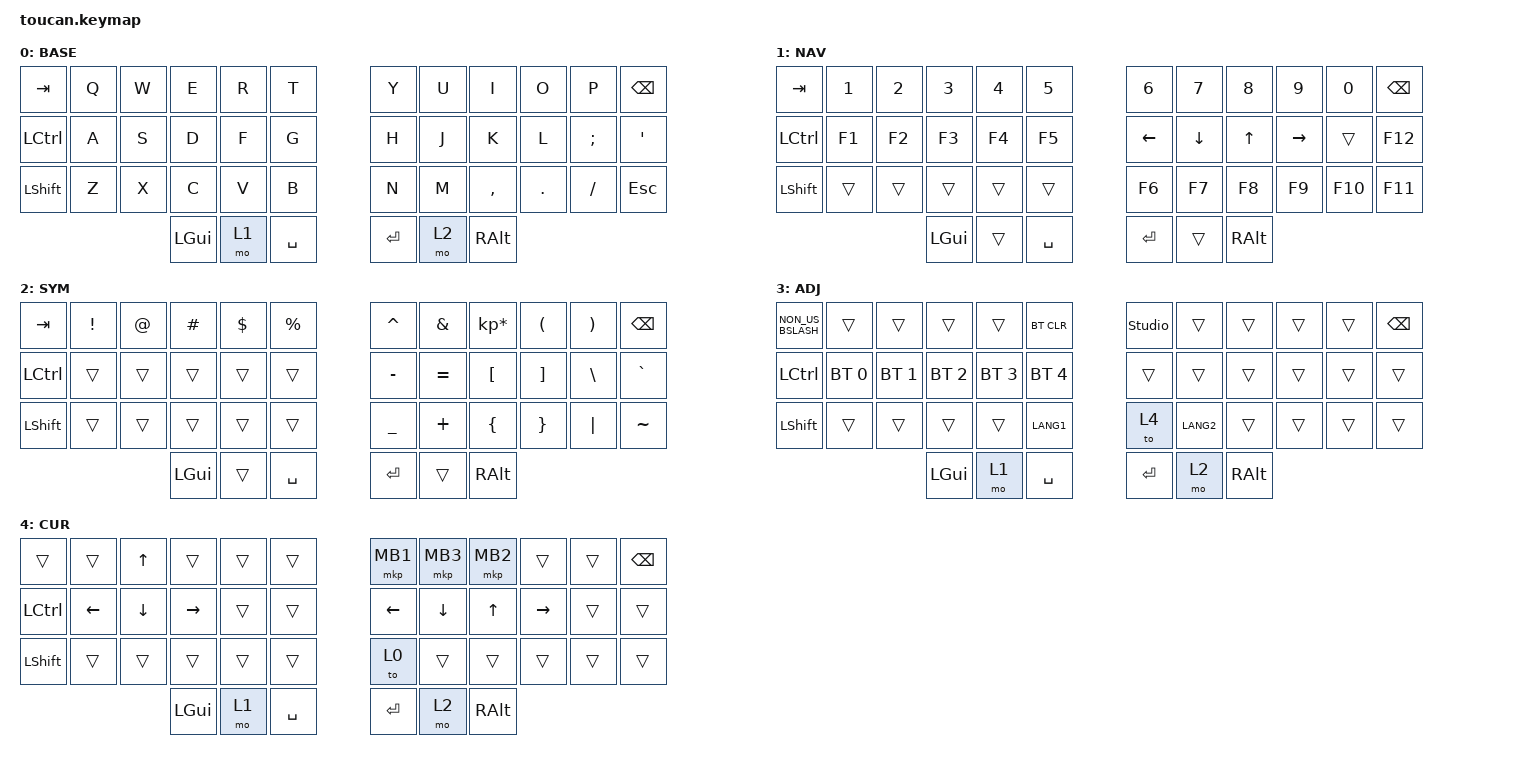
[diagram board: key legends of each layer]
#include <behaviors.dtsi>
#include <dt-bindings/zmk/bt.h>
#include <dt-bindings/zmk/keys.h>
#include <dt-bindings/zmk/pointing.h>
#include <dt-bindings/zmk/outputs.h>
#include <dt-bindings/zmk/mouse.h>
#include <dt-bindings/zmk/studio.h>

#define BASE 0
#define NAV  1
#define SYM  2
#define ADJ  3
#define CUR  4

/ {
    conditional_layers {
        compatible = "zmk,conditional-layers";

        tri_layer {
            if-layers = <1 2>;
            then-layer = <3>;
        };
    };

    keymap {
        compatible = "zmk,keymap";

        base {
            display-name = "BASE";
            bindings = <
                &kp TAB   &kp Q &kp W &kp E &kp R &kp T   &kp Y &kp U  &kp I     &kp O   &kp P    &kp BSPC
                &kp LCTRL &kp A &kp S &kp D &kp F &kp G   &kp H &kp J  &kp K     &kp L   &kp SEMI &kp SQT
                &kp LSHFT &kp Z &kp X &kp C &kp V &kp B   &kp N &kp M  &kp COMMA &kp DOT &kp FSLH &kp ESC
                                &kp LGUI &mo 1 &kp SPACE   &kp RET &mo 2 &kp RALT
            >;
        };

        nav {
            display-name = "NAV";
            bindings = <
                &kp TAB  &kp N1  &kp N2  &kp N3  &kp N4  &kp N5  &kp N6  &kp N7  &kp N8  &kp N9  &kp N0  &kp BSPC
                &kp LCTRL  &kp F1  &kp F2  &kp F3  &kp F4  &kp F5  &kp LEFT_ARROW  &kp DOWN_ARROW  &kp UP_ARROW  &kp RIGHT_ARROW  &trans  &kp F12
                &kp LSHFT  &trans  &trans  &trans  &trans  &trans  &kp F6  &kp F7  &kp F8  &kp F9  &kp F10  &kp F11
                &kp LGUI  &trans  &kp SPACE  &kp RET  &trans  &kp RALT
            >;
        };

        sym {
            display-name = "SYM";
            bindings = <
                &kp TAB  &kp EXCL  &kp AT  &kp HASH  &kp DLLR  &kp PRCNT  &kp CARET  &kp AMPS  &kp KP_MULTIPLY  &kp LPAR  &kp RPAR  &kp BSPC
                &kp LCTRL  &trans  &trans  &trans  &trans  &trans  &kp MINUS  &kp EQUAL  &kp LBKT  &kp RBKT  &kp BSLH  &kp GRAVE
                &kp LSHFT  &trans  &trans  &trans  &trans  &trans  &kp UNDER  &kp PLUS  &kp LBRC  &kp RBRC  &kp PIPE  &kp TILDE
                &kp LGUI  &trans  &kp SPACE  &kp RET  &trans  &kp RALT
            >;
        };

        adj {
            display-name = "ADJ";
            bindings = <
                &kp NON_US_BSLASH  &trans  &trans  &trans  &trans  &bt BT_CLR  &studio_unlock  &trans  &trans  &trans  &trans  &kp BSPC
                &kp LCTRL  &bt BT_SEL 0  &bt BT_SEL 1  &bt BT_SEL 2  &bt BT_SEL 3  &bt BT_SEL 4  &trans  &trans  &trans  &trans  &trans  &trans
                &kp LEFT_SHIFT  &trans  &trans  &trans  &trans  &kp LANG1  &to 4  &kp LANG2  &trans  &trans  &trans  &trans
                &kp LGUI  &mo 1  &kp SPACE  &kp RET  &mo 2  &kp RALT
            >;
        };

        cur {
            display-name = "CUR";
            bindings = <
                &trans  &trans  &kp UP_ARROW  &trans  &trans  &trans  &mkp MB1  &mkp MB3  &mkp MB2  &trans  &trans  &kp BSPC
                &kp LCTRL  &kp LEFT_ARROW  &kp DOWN_ARROW  &kp RIGHT_ARROW  &trans  &trans  &kp LEFT_ARROW  &kp DOWN_ARROW  &kp UP_ARROW  &kp RIGHT_ARROW  &trans  &trans
                &kp LSHFT  &trans  &trans  &trans  &trans  &trans  &to 0  &trans  &trans  &trans  &trans  &trans
                &kp LGUI  &mo 1  &kp SPACE  &kp RET  &mo 2  &kp RALT
            >;
        };

        extra_1 { status = "reserved"; };

        extra_2 { status = "reserved"; };

        extra_3 { status = "reserved"; };
    };
};
